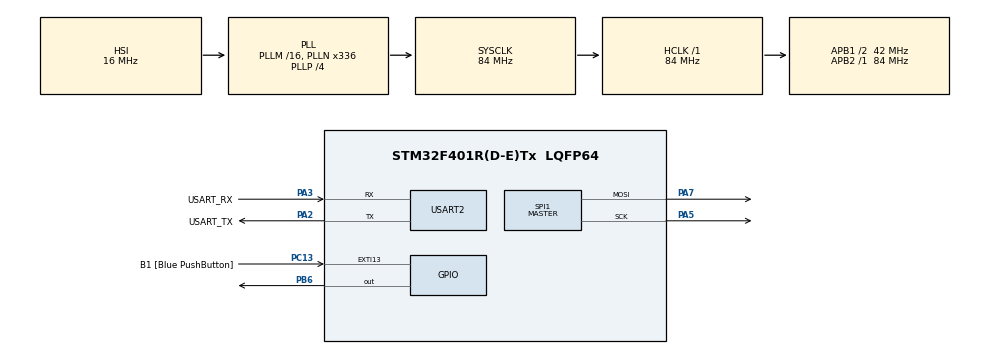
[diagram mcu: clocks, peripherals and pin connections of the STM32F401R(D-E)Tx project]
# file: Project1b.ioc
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Dma.Request0=SPI1_TX
Dma.SPI1_TX.0.Direction=DMA_MEMORY_TO_PERIPH
Dma.SPI1_TX.0.FIFOMode=DMA_FIFOMODE_DISABLE
Dma.SPI1_TX.0.Instance=DMA2_Stream3
Dma.SPI1_TX.0.MemDataAlignment=DMA_MDATAALIGN_BYTE
Dma.SPI1_TX.0.MemInc=DMA_MINC_ENABLE
Dma.SPI1_TX.0.Mode=DMA_NORMAL
Dma.SPI1_TX.0.PeriphDataAlignment=DMA_PDATAALIGN_BYTE
Dma.SPI1_TX.0.PeriphInc=DMA_PINC_DISABLE
Dma.SPI1_TX.0.Priority=DMA_PRIORITY_LOW
Mcu.Family=STM32F4
Mcu.Name=STM32F401R(D-E)Tx
Mcu.Package=LQFP64
NVIC.DMA2_Stream3_IRQn=true\:0\:0\:false\:false\:true\:false\:true\:true
NVIC.PriorityGroup=NVIC_PRIORITYGROUP_0
NVIC.TIM2_IRQn=true\:0\:0\:false\:false\:true\:true\:true\:true
NVIC.TIM3_IRQn=true\:0\:0\:false\:false\:true\:true\:true\:true
PA13.GPIO_Label=TMS
PA13.Mode=Serial_Wire
PA13.Signal=SYS_JTMS-SWDIO
PA14.GPIO_Label=TCK
PA14.Mode=Serial_Wire
PA14.Signal=SYS_JTCK-SWCLK
PA2.GPIO_Label=USART_TX
PA2.GPIO_Mode=GPIO_MODE_AF_PP
PA2.GPIO_PuPd=GPIO_NOPULL
PA2.GPIO_Speed=GPIO_SPEED_FREQ_LOW
PA2.Mode=Asynchronous
PA2.Signal=USART2_TX
PA3.GPIO_Label=USART_RX
PA3.GPIO_Mode=GPIO_MODE_AF_PP
PA3.GPIO_PuPd=GPIO_NOPULL
PA3.GPIO_Speed=GPIO_SPEED_FREQ_LOW
PA3.Mode=Asynchronous
PA3.Signal=USART2_RX
PA5.Mode=TX_Only_Simplex_Unidirect_Master
PA5.Signal=SPI1_SCK
PA7.Mode=TX_Only_Simplex_Unidirect_Master
PA7.Signal=SPI1_MOSI
PB3.GPIO_Label=SWO
PB3.Signal=SYS_JTDO-SWO
PB6.Signal=GPIO_Output
PC13-ANTI_TAMP.GPIO_Label=B1 [Blue PushButton]
PC13-ANTI_TAMP.GPIO_ModeDefaultEXTI=GPIO_MODE_IT_FALLING
PC13-ANTI_TAMP.GPIO_PuPd=GPIO_NOPULL
PC13-ANTI_TAMP.Signal=GPXTI13
PC14-OSC32_IN.Mode=LSE-External-Oscillator
PC14-OSC32_IN.Signal=RCC_OSC32_IN
PC15-OSC32_OUT.Mode=LSE-External-Oscillator
PC15-OSC32_OUT.Signal=RCC_OSC32_OUT
PH0\ -\ OSC_IN.Mode=HSE-External-Clock-Source
PH0\ -\ OSC_IN.Signal=RCC_OSC_IN
PH1\ -\ OSC_OUT.Mode=HSE-External-Clock-Source
PH1\ -\ OSC_OUT.Signal=RCC_OSC_OUT
ProjectManager.HeapSize=0x200
ProjectManager.StackSize=0x400
ProjectManager.TargetToolchain=STM32CubeIDE
RCC.48MHZClocksFreq_Value=48000000
RCC.AHBFreq_Value=84000000
RCC.APB1CLKDivider=RCC_HCLK_DIV2
RCC.APB1Freq_Value=42000000
RCC.APB1TimFreq_Value=84000000
RCC.APB2Freq_Value=84000000
RCC.APB2TimFreq_Value=84000000
RCC.CortexFreq_Value=84000000
RCC.HCLKFreq_Value=84000000
RCC.HSE_VALUE=8000000
RCC.HSI_VALUE=16000000
RCC.PLLN=336
RCC.PLLP=RCC_PLLP_DIV4
RCC.PLLQ=7
RCC.SYSCLKFreq_VALUE=84000000
RCC.SYSCLKSource=RCC_SYSCLKSOURCE_PLLCLK
RCC.VCOOutputFreq_Value=336000000
SPI1.BaudRatePrescaler=SPI_BAUDRATEPRESCALER_4
SPI1.Direction=SPI_DIRECTION_2LINES
SPI1.Mode=SPI_MODE_MASTER
SPI1.VirtualType=VM_MASTER
TIM2.Period=39
TIM2.Prescaler=8399
TIM3.Period=9999
TIM3.Prescaler=8399
USART2.VirtualMode=VM_ASYNC
VP_TIM2_VS_ClockSourceINT.Mode=Internal
VP_TIM3_VS_ClockSourceINT.Mode=Internal
board=NUCLEO-F401RE

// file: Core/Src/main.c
/* USER CODE BEGIN Header */
/**
  ******************************************************************************
  * @file           : main.c
  * @brief          : Main program body
  ******************************************************************************
  * @attention
  *
  * Copyright (c) 2023 STMicroelectronics.
  * All rights reserved.
  *
  * This software is licensed under terms that can be found in the LICENSE file
  * in the root directory of this software component.
  * If no LICENSE file comes with this software, it is provided AS-IS.
  *
  ******************************************************************************
  */
/* USER CODE END Header */
#include "main.h"

/* USER CODE BEGIN Includes */
#include <string.h>
/* USER CODE END Includes */

/* USER CODE BEGIN PM */
#define RCLK_PIN GPIOB,GPIO_PIN_6
/* USER CODE END PM */

SPI_HandleTypeDef hspi1;
DMA_HandleTypeDef hdma_spi1_tx;

TIM_HandleTypeDef htim2;
TIM_HandleTypeDef htim3;

UART_HandleTypeDef huart2;

/* USER CODE BEGIN PV */
uint8_t H[5][2] = {{127,16},{8,8},{8,4},{8,2},{127,1}};
uint8_t U[5][2] = {{126,16},{1,8},{1,4},{1,2},{126,1}};
uint8_t I[5][2] = {{65,16},{65,8},{127,4},{65,2},{65,1}};
uint8_t display_content[5][2] = {{127,16},{8,8},{8,4},{8,2},{127,1}};
uint8_t column_index = 0;
uint8_t order = 0;
/* USER CODE END PV */

void SystemClock_Config(void);
static void MX_GPIO_Init(void);
static void MX_DMA_Init(void);
static void MX_USART2_UART_Init(void);
static void MX_SPI1_Init(void);
static void MX_TIM2_Init(void);
static void MX_TIM3_Init(void);

/* USER CODE BEGIN 0 */
void HAL_TIM_PeriodElapsedCallback(TIM_HandleTypeDef *htim){
	if(htim->Instance == htim3.Instance){
		order += 1;
		if(order == 3){
			order = 0;
		}
		switch(order){
		case 0:
			memcpy(display_content,H,sizeof(H));
		break;
		case 1:
			memcpy(display_content,U,sizeof(U));
		break;
		case 2:
			memcpy(display_content,I,sizeof(I));
		break;
		}
	}
	else{
		HAL_SPI_Transmit_DMA(&hspi1,display_content[column_index],2);
	}
}
void HAL_SPI_TxCpltCallback(SPI_HandleTypeDef *hspi){
	HAL_GPIO_WritePin(RCLK_PIN,GPIO_PIN_SET);
	column_index+=1;
	if (column_index == 5){
		column_index = 0;
	}
	HAL_GPIO_WritePin(RCLK_PIN,GPIO_PIN_RESET);
}
/* USER CODE END 0 */

int main(void)
{

  /* MCU Configuration--------------------------------------------------------*/

  /* Reset of all peripherals, Initializes the Flash interface and the Systick. */
  HAL_Init();

  /* Configure the system clock */
  SystemClock_Config();

  /* Initialize all configured peripherals */
  MX_GPIO_Init();
  MX_DMA_Init();
  MX_USART2_UART_Init();
  MX_SPI1_Init();
  MX_TIM2_Init();
  MX_TIM3_Init();
  /* USER CODE BEGIN 2 */
  HAL_TIM_Base_Start_IT(&htim2);
  HAL_TIM_Base_Start_IT(&htim3);
  /* USER CODE END 2 */

  /* Infinite loop */
  while (1)
  {

  }
}

void SystemClock_Config(void)
{
  RCC_OscInitTypeDef RCC_OscInitStruct = {0};
  RCC_ClkInitTypeDef RCC_ClkInitStruct = {0};

  /** Configure the main internal regulator output voltage
  */
  __HAL_RCC_PWR_CLK_ENABLE();
  __HAL_PWR_VOLTAGESCALING_CONFIG(PWR_REGULATOR_VOLTAGE_SCALE2);

  /** Initializes the RCC Oscillators according to the specified parameters
  * in the RCC_OscInitTypeDef structure.
  */
  RCC_OscInitStruct.OscillatorType = RCC_OSCILLATORTYPE_HSI;
  RCC_OscInitStruct.HSIState = RCC_HSI_ON;
  RCC_OscInitStruct.HSICalibrationValue = RCC_HSICALIBRATION_DEFAULT;
  RCC_OscInitStruct.PLL.PLLState = RCC_PLL_ON;
  RCC_OscInitStruct.PLL.PLLSource = RCC_PLLSOURCE_HSI;
  RCC_OscInitStruct.PLL.PLLM = 16;
  RCC_OscInitStruct.PLL.PLLN = 336;
  RCC_OscInitStruct.PLL.PLLP = RCC_PLLP_DIV4;
  RCC_OscInitStruct.PLL.PLLQ = 7;
  if (HAL_RCC_OscConfig(&RCC_OscInitStruct) != HAL_OK)
  {
    Error_Handler();
  }

  /** Initializes the CPU, AHB and APB buses clocks
  */
  RCC_ClkInitStruct.ClockType = RCC_CLOCKTYPE_HCLK|RCC_CLOCKTYPE_SYSCLK
                              |RCC_CLOCKTYPE_PCLK1|RCC_CLOCKTYPE_PCLK2;
  RCC_ClkInitStruct.SYSCLKSource = RCC_SYSCLKSOURCE_PLLCLK;
  RCC_ClkInitStruct.AHBCLKDivider = RCC_SYSCLK_DIV1;
  RCC_ClkInitStruct.APB1CLKDivider = RCC_HCLK_DIV2;
  RCC_ClkInitStruct.APB2CLKDivider = RCC_HCLK_DIV1;

  if (HAL_RCC_ClockConfig(&RCC_ClkInitStruct, FLASH_LATENCY_2) != HAL_OK)
  {
    Error_Handler();
  }
}

static void MX_SPI1_Init(void)
{

  /* SPI1 parameter configuration*/
  hspi1.Instance = SPI1;
  hspi1.Init.Mode = SPI_MODE_MASTER;
  hspi1.Init.Direction = SPI_DIRECTION_2LINES;
  hspi1.Init.DataSize = SPI_DATASIZE_8BIT;
  hspi1.Init.CLKPolarity = SPI_POLARITY_LOW;
  hspi1.Init.CLKPhase = SPI_PHASE_1EDGE;
  hspi1.Init.NSS = SPI_NSS_SOFT;
  hspi1.Init.BaudRatePrescaler = SPI_BAUDRATEPRESCALER_4;
  hspi1.Init.FirstBit = SPI_FIRSTBIT_MSB;
  hspi1.Init.TIMode = SPI_TIMODE_DISABLE;
  hspi1.Init.CRCCalculation = SPI_CRCCALCULATION_DISABLE;
  hspi1.Init.CRCPolynomial = 10;
  if (HAL_SPI_Init(&hspi1) != HAL_OK)
  {
    Error_Handler();
  }

}

static void MX_TIM2_Init(void)
{

  TIM_ClockConfigTypeDef sClockSourceConfig = {0};
  TIM_MasterConfigTypeDef sMasterConfig = {0};

  htim2.Instance = TIM2;
  htim2.Init.Prescaler = 8399;
  htim2.Init.CounterMode = TIM_COUNTERMODE_UP;
  htim2.Init.Period = 39;
  htim2.Init.ClockDivision = TIM_CLOCKDIVISION_DIV1;
  htim2.Init.AutoReloadPreload = TIM_AUTORELOAD_PRELOAD_DISABLE;
  if (HAL_TIM_Base_Init(&htim2) != HAL_OK)
  {
    Error_Handler();
  }
  sClockSourceConfig.ClockSource = TIM_CLOCKSOURCE_INTERNAL;
  if (HAL_TIM_ConfigClockSource(&htim2, &sClockSourceConfig) != HAL_OK)
  {
    Error_Handler();
  }
  sMasterConfig.MasterOutputTrigger = TIM_TRGO_RESET;
  sMasterConfig.MasterSlaveMode = TIM_MASTERSLAVEMODE_DISABLE;
  if (HAL_TIMEx_MasterConfigSynchronization(&htim2, &sMasterConfig) != HAL_OK)
  {
    Error_Handler();
  }

}

static void MX_TIM3_Init(void)
{

  TIM_ClockConfigTypeDef sClockSourceConfig = {0};
  TIM_MasterConfigTypeDef sMasterConfig = {0};

  htim3.Instance = TIM3;
  htim3.Init.Prescaler = 8399;
  htim3.Init.CounterMode = TIM_COUNTERMODE_UP;
  htim3.Init.Period = 9999;
  htim3.Init.ClockDivision = TIM_CLOCKDIVISION_DIV1;
  htim3.Init.AutoReloadPreload = TIM_AUTORELOAD_PRELOAD_DISABLE;
  if (HAL_TIM_Base_Init(&htim3) != HAL_OK)
  {
    Error_Handler();
  }
  sClockSourceConfig.ClockSource = TIM_CLOCKSOURCE_INTERNAL;
  if (HAL_TIM_ConfigClockSource(&htim3, &sClockSourceConfig) != HAL_OK)
  {
    Error_Handler();
  }
  sMasterConfig.MasterOutputTrigger = TIM_TRGO_RESET;
  sMasterConfig.MasterSlaveMode = TIM_MASTERSLAVEMODE_DISABLE;
  if (HAL_TIMEx_MasterConfigSynchronization(&htim3, &sMasterConfig) != HAL_OK)
  {
    Error_Handler();
  }

}

static void MX_USART2_UART_Init(void)
{

  huart2.Instance = USART2;
  huart2.Init.BaudRate = 115200;
  huart2.Init.WordLength = UART_WORDLENGTH_8B;
  huart2.Init.StopBits = UART_STOPBITS_1;
  huart2.Init.Parity = UART_PARITY_NONE;
  huart2.Init.Mode = UART_MODE_TX_RX;
  huart2.Init.HwFlowCtl = UART_HWCONTROL_NONE;
  huart2.Init.OverSampling = UART_OVERSAMPLING_16;
  if (HAL_UART_Init(&huart2) != HAL_OK)
  {
    Error_Handler();
  }

}

static void MX_DMA_Init(void)
{

  /* DMA controller clock enable */
  __HAL_RCC_DMA2_CLK_ENABLE();

  /* DMA interrupt init */
  /* DMA2_Stream3_IRQn interrupt configuration */
  HAL_NVIC_SetPriority(DMA2_Stream3_IRQn, 0, 0);
  HAL_NVIC_EnableIRQ(DMA2_Stream3_IRQn);

}

static void MX_GPIO_Init(void)
{
  GPIO_InitTypeDef GPIO_InitStruct = {0};

  /* GPIO Ports Clock Enable */
  __HAL_RCC_GPIOC_CLK_ENABLE();
  __HAL_RCC_GPIOH_CLK_ENABLE();
  __HAL_RCC_GPIOA_CLK_ENABLE();
  __HAL_RCC_GPIOB_CLK_ENABLE();

  /*Configure GPIO pin Output Level */
  HAL_GPIO_WritePin(GPIOB, GPIO_PIN_6, GPIO_PIN_RESET);

  /*Configure GPIO pin : B1_Pin */
  GPIO_InitStruct.Pin = B1_Pin;
  GPIO_InitStruct.Mode = GPIO_MODE_IT_FALLING;
  GPIO_InitStruct.Pull = GPIO_NOPULL;
  HAL_GPIO_Init(B1_GPIO_Port, &GPIO_InitStruct);

  /*Configure GPIO pin : PB6 */
  GPIO_InitStruct.Pin = GPIO_PIN_6;
  GPIO_InitStruct.Mode = GPIO_MODE_OUTPUT_PP;
  GPIO_InitStruct.Pull = GPIO_NOPULL;
  GPIO_InitStruct.Speed = GPIO_SPEED_FREQ_LOW;
  HAL_GPIO_Init(GPIOB, &GPIO_InitStruct);

}

void Error_Handler(void)
{
  __disable_irq();
  while (1)
  {
  }
}
